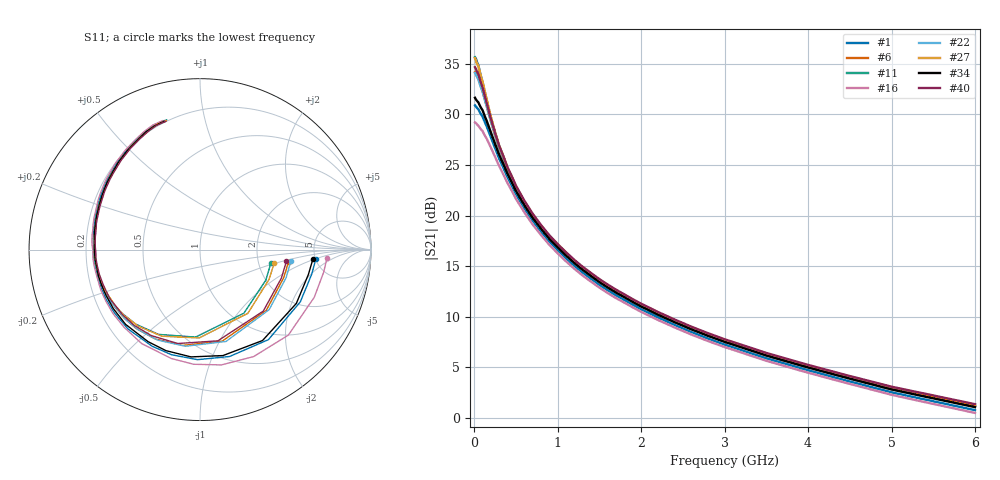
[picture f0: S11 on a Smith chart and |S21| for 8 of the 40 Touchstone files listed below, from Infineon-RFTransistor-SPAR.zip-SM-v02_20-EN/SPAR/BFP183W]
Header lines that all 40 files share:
! Infineon Technologies  Discrete & RF Semiconductors
! BFP183W
! Common Emitter S-Parameters:  Jan 2017
# GHz  S  MA  R  50
!  f  S11  S21  S12  S22
! GHz  MAG  ANG  MAG  ANG  MAG  ANG  MAG  ANG
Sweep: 10 MHz to 6 GHz
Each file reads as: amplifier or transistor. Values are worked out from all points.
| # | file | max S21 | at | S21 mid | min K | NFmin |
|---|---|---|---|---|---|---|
| 1 | BFP183W_w_noise_VCE_8.0V_IC_13mA.s2p | 30.9 dB | 10 MHz | 9.9 dB at 2.2 GHz | 0.02 | 1.01 dB |
| 2 | BFP183W_w_noise_VCE_8.0V_IC_15mA.s2p | 31.7 dB | 10 MHz | 10.1 dB at 2.2 GHz | -0.01 | 1.05 dB |
| 3 | BFP183W_w_noise_VCE_8.0V_IC_17mA.s2p | 32.4 dB | 10 MHz | 10.2 dB at 2.2 GHz | 0.03 | 1.12 dB |
| 4 | BFP183W_w_noise_VCE_8.0V_IC_20mA.s2p | 33.3 dB | 10 MHz | 10.3 dB at 2.2 GHz | 0.09 | 1.17 dB |
| 5 | BFP183W_w_noise_VCE_8.0V_IC_22mA.s2p | 33.8 dB | 10 MHz | 10.3 dB at 2.2 GHz | -0.02 | 1.22 dB |
| 6 | BFP183W_w_noise_VCE_8.0V_IC_24mA.s2p | 34.2 dB | 10 MHz | 10.3 dB at 2.2 GHz | 0.11 | 1.27 dB |
| 7 | BFP183W_w_noise_VCE_8.0V_IC_25mA.s2p | 34.3 dB | 10 MHz | 10.4 dB at 2.2 GHz | 0.11 | 1.29 dB |
| 8 | BFP183W_w_noise_VCE_8.0V_IC_28mA.s2p | 34.8 dB | 10 MHz | 10.4 dB at 2.2 GHz | 0.17 | 1.35 dB |
| 9 | BFP183W_w_noise_VCE_8.0V_IC_30mA.s2p | 35.1 dB | 10 MHz | 10.4 dB at 2.2 GHz | 0.09 | 1.39 dB |
| 10 | BFP183W_w_noise_VCE_8.0V_IC_33mA.s2p | 35.4 dB | 10 MHz | 10.3 dB at 2.2 GHz | 0.17 | 1.47 dB |
| 11 | BFP183W_w_noise_VCE_8.0V_IC_35mA.s2p | 35.6 dB | 10 MHz | 10.3 dB at 2.2 GHz | 0.17 | 1.51 dB |
| 12 | BFP183W_w_noise_VCE_9.0V_IC_2.0mA.s2p | 16.9 dB | 10 MHz | 5.3 dB at 2.2 GHz | -0.08 | 0.76 dB |
| 13 | BFP183W_w_noise_VCE_9.0V_IC_4.0mA.s2p | 22.7 dB | 10 MHz | 7.7 dB at 2.2 GHz | -0.07 | 0.73 dB |
| 14 | BFP183W_w_noise_VCE_9.0V_IC_7.0mA.s2p | 26.8 dB | 10 MHz | 9.1 dB at 2.2 GHz | -0.10 | 0.82 dB |
| 15 | BFP183W_w_noise_VCE_9.0V_IC_9.0mA.s2p | 28.5 dB | 10 MHz | 9.5 dB at 2.2 GHz | 0.00 | 0.90 dB |
| 16 | BFP183W_w_noise_VCE_9.0V_IC_10mA.s2p | 29.2 dB | 10 MHz | 9.7 dB at 2.2 GHz | -0.04 | 0.92 dB |
| 17 | BFP183W_w_noise_VCE_9.0V_IC_13mA.s2p | 30.9 dB | 10 MHz | 10.0 dB at 2.2 GHz | 0.01 | 1.01 dB |
| 18 | BFP183W_w_noise_VCE_9.0V_IC_15mA.s2p | 31.7 dB | 10 MHz | 10.2 dB at 2.2 GHz | 0.08 | 1.05 dB |
| 19 | BFP183W_w_noise_VCE_9.0V_IC_17mA.s2p | 32.4 dB | 10 MHz | 10.3 dB at 2.2 GHz | 0.10 | 1.12 dB |
| 20 | BFP183W_w_noise_VCE_9.0V_IC_20mA.s2p | 33.2 dB | 10 MHz | 10.4 dB at 2.2 GHz | 0.11 | 1.17 dB |
| 21 | BFP183W_w_noise_VCE_9.0V_IC_22mA.s2p | 33.7 dB | 10 MHz | 10.4 dB at 2.2 GHz | 0.10 | 1.22 dB |
| 22 | BFP183W_w_noise_VCE_9.0V_IC_24mA.s2p | 34.1 dB | 10 MHz | 10.4 dB at 2.2 GHz | 0.05 | 1.27 dB |
| 23 | BFP183W_w_noise_VCE_9.0V_IC_25mA.s2p | 34.3 dB | 10 MHz | 10.4 dB at 2.2 GHz | 0.08 | 1.29 dB |
| 24 | BFP183W_w_noise_VCE_9.0V_IC_28mA.s2p | 34.7 dB | 10 MHz | 10.4 dB at 2.2 GHz | 0.12 | 1.35 dB |
| 25 | BFP183W_w_noise_VCE_9.0V_IC_30mA.s2p | 35.0 dB | 10 MHz | 10.4 dB at 2.2 GHz | 0.14 | 1.39 dB |
| 26 | BFP183W_w_noise_VCE_9.0V_IC_33mA.s2p | 35.3 dB | 10 MHz | 10.4 dB at 2.2 GHz | 0.16 | 1.47 dB |
| 27 | BFP183W_w_noise_VCE_9.0V_IC_35mA.s2p | 35.5 dB | 10 MHz | 10.3 dB at 2.2 GHz | 0.15 | 1.51 dB |
| 28 | BFP183W_w_noise_VCE_10.V_IC_2.0mA.s2p | 16.9 dB | 10 MHz | 5.3 dB at 2.2 GHz | -0.08 | 0.76 dB |
| 29 | BFP183W_w_noise_VCE_10.V_IC_4.0mA.s2p | 22.6 dB | 10 MHz | 7.8 dB at 2.2 GHz | 0.02 | 0.73 dB |
| 30 | BFP183W_w_noise_VCE_10.V_IC_7.0mA.s2p | 26.8 dB | 10 MHz | 9.1 dB at 2.2 GHz | -0.10 | 0.82 dB |
| 31 | BFP183W_w_noise_VCE_10.V_IC_9.0mA.s2p | 28.5 dB | 10 MHz | 9.6 dB at 2.2 GHz | 0.04 | 0.90 dB |
| 32 | BFP183W_w_noise_VCE_10.V_IC_10mA.s2p | 29.2 dB | 10 MHz | 9.7 dB at 2.2 GHz | 0.02 | 0.92 dB |
| 33 | BFP183W_w_noise_VCE_10.V_IC_13mA.s2p | 30.8 dB | 10 MHz | 10.1 dB at 2.2 GHz | 0.04 | 1.01 dB |
| 34 | BFP183W_w_noise_VCE_10.V_IC_15mA.s2p | 31.6 dB | 10 MHz | 10.2 dB at 2.2 GHz | 0.01 | 1.05 dB |
| 35 | BFP183W_w_noise_VCE_10.V_IC_17mA.s2p | 32.3 dB | 10 MHz | 10.3 dB at 2.2 GHz | 0.01 | 1.12 dB |
| 36 | BFP183W_w_noise_VCE_10.V_IC_20mA.s2p | 33.1 dB | 10 MHz | 10.4 dB at 2.2 GHz | 0.07 | 1.17 dB |
| 37 | BFP183W_w_noise_VCE_10.V_IC_22mA.s2p | 33.6 dB | 10 MHz | 10.5 dB at 2.2 GHz | 0.14 | 1.22 dB |
| 38 | BFP183W_w_noise_VCE_10.V_IC_24mA.s2p | 34.0 dB | 10 MHz | 10.5 dB at 2.2 GHz | 0.13 | 1.27 dB |
| 39 | BFP183W_w_noise_VCE_10.V_IC_25mA.s2p | 34.2 dB | 10 MHz | 10.5 dB at 2.2 GHz | 0.04 | 1.29 dB |
| 40 | BFP183W_w_noise_VCE_10.V_IC_28mA.s2p | 34.7 dB | 10 MHz | 10.5 dB at 2.2 GHz | 0.13 | 1.35 dB |

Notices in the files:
Hoja de datos/BFP 450/Infineon-RFTransistor-SPAR.zip-SM-v02_20-EN/SPAR/BFP183W/BFP183W_w_noise_VCE_10.V_IC_10mA.s2p:
(c) 2017  Infineon Technologies AG, Munich
